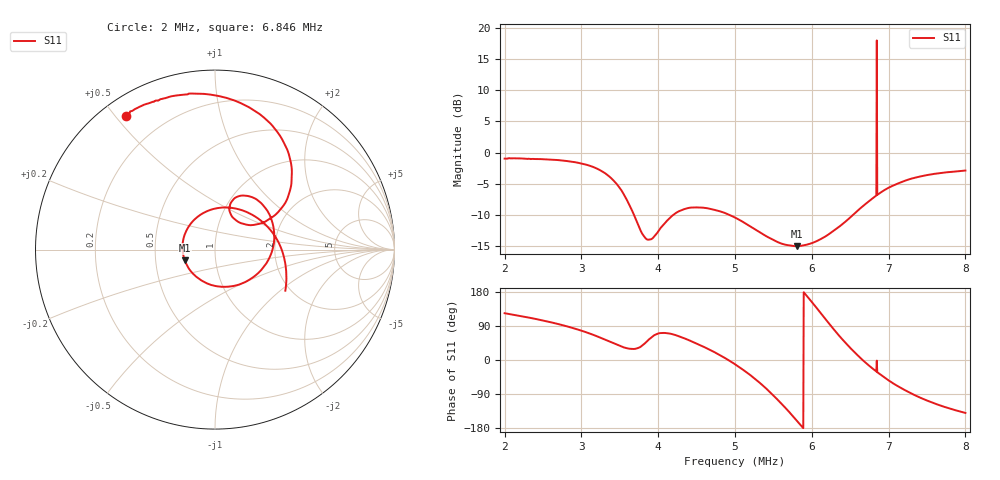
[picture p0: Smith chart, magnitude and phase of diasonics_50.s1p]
# Hz S RI R 50
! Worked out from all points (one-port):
!   1010 points, 2 MHz to 8 MHz, reference 50 ohm
!   lowest |S11| = -15.0 dB at 5.805 MHz (marker M1), VSWR 1.43, Z = 35.4 - j4.41 ohm
!   |S11| at or under -10 dB: 3.685 MHz to 4.192 MHz (506.6 kHz wide, 12.9 % of centre); 4.934 MHz to 6.534 MHz (1.6 MHz wide, 27.9 % of centre)
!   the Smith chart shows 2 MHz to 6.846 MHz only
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2000000  -0.4939 0.7469
2392400  -0.2866 0.8415
2755046  -0.0286 0.864
3123746  0.2832 0.7264
3337792  0.4153 0.517
3504292  0.4123 0.3105
3688592  0.2731 0.1525
3861038  0.127 0.156
4027538  0.0805 0.2343
4253438  0.1487 0.3009
4663784  0.3154 0.1654
5002730  0.2954 -0.0609
5383230  0.0707 -0.2069
5751876  -0.1519 -0.095
5805376  -0.1679 -0.0603
6019476  -0.1619 0.1004
6227522  -0.0212 0.2228
6501122  0.2579 0.1596
6655622  0.3689 0.00652
6810268  0.3964 -0.1897
6816168  0.3958 -0.1977
6845968  7.902 -0.2368
6875668  0.3812 -0.2752
6881568  0.3789 -0.2827
7059968  0.2577 -0.4808
7250268  0.0667 -0.6034
7547614  -0.2377 -0.6257
7999514  -0.5484 -0.4649
